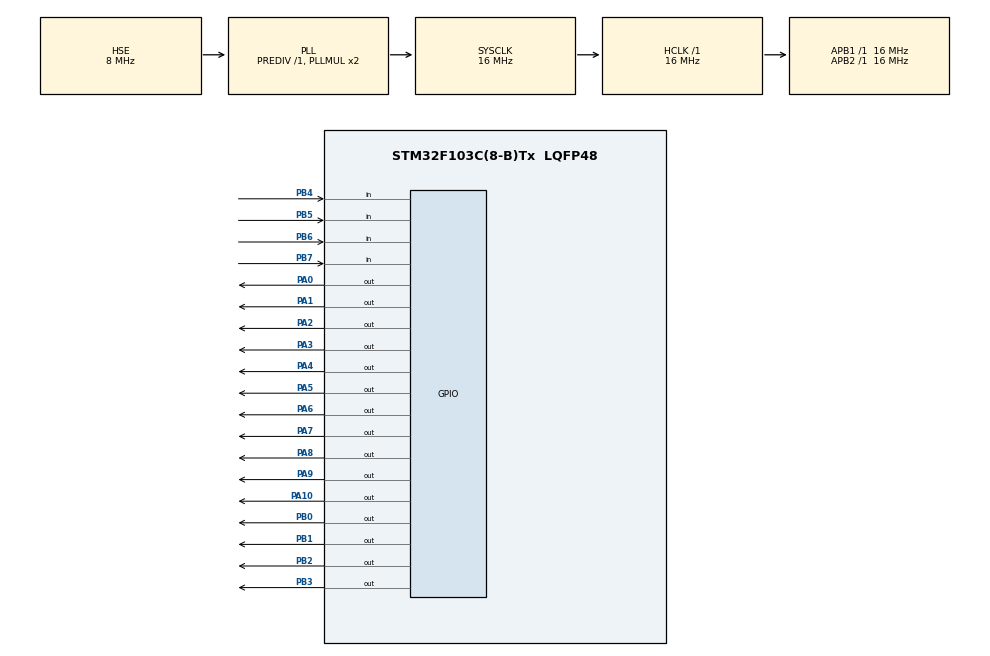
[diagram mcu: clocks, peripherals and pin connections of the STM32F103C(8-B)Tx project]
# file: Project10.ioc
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Mcu.Family=STM32F1
Mcu.Name=STM32F103C(8-B)Tx
Mcu.Package=LQFP48
NVIC.PriorityGroup=NVIC_PRIORITYGROUP_4
PA0-WKUP.Signal=GPIO_Output
PA1.Signal=GPIO_Output
PA10.Signal=GPIO_Output
PA13.Mode=Serial_Wire
PA13.Signal=SYS_JTMS-SWDIO
PA14.Mode=Serial_Wire
PA14.Signal=SYS_JTCK-SWCLK
PA2.Signal=GPIO_Output
PA3.Signal=GPIO_Output
PA4.Signal=GPIO_Output
PA5.Signal=GPIO_Output
PA6.Signal=GPIO_Output
PA7.Signal=GPIO_Output
PA8.Signal=GPIO_Output
PA9.Signal=GPIO_Output
PB0.Signal=GPIO_Output
PB1.Signal=GPIO_Output
PB2.Signal=GPIO_Output
PB3.Signal=GPIO_Output
PB4.GPIO_PuPd=GPIO_PULLDOWN
PB4.Signal=GPIO_Input
PB5.GPIO_PuPd=GPIO_PULLUP
PB5.Signal=GPIO_Input
PB6.GPIO_PuPd=GPIO_PULLUP
PB6.Signal=GPIO_Input
PB7.GPIO_PuPd=GPIO_PULLUP
PB7.Signal=GPIO_Input
PD0-OSC_IN.Mode=HSE-External-Oscillator
PD0-OSC_IN.Signal=RCC_OSC_IN
PD1-OSC_OUT.Mode=HSE-External-Oscillator
PD1-OSC_OUT.Signal=RCC_OSC_OUT
ProjectManager.HeapSize=0x200
ProjectManager.StackSize=0x400
ProjectManager.TargetToolchain=STM32CubeIDE
RCC.AHBFreq_Value=16000000
RCC.APB1Freq_Value=16000000
RCC.APB1TimFreq_Value=16000000
RCC.APB2Freq_Value=16000000
RCC.APB2TimFreq_Value=16000000
RCC.HCLKFreq_Value=16000000
RCC.PLLSourceVirtual=RCC_PLLSOURCE_HSE
RCC.SYSCLKFreq_VALUE=16000000
RCC.SYSCLKSource=RCC_SYSCLKSOURCE_PLLCLK
RCC.USBFreq_Value=16000000
board=custom

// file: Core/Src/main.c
/* USER CODE BEGIN Header */
/**
  ******************************************************************************
  * @file           : main.c
  * @brief          : Main program body
  ******************************************************************************
  * @attention
  *
  * Copyright (c) 2025 STMicroelectronics.
  * All rights reserved.
  *
  * This software is licensed under terms that can be found in the LICENSE file
  * in the root directory of this software component.
  * If no LICENSE file comes with this software, it is provided AS-IS.
  *
  ******************************************************************************
  */
/* USER CODE END Header */
#include "main.h"

/* USER CODE BEGIN Includes */
#include "lcd.h"
/* USER CODE END Includes */

void SystemClock_Config(void);
static void MX_GPIO_Init(void);

/* USER CODE BEGIN 0 */

int col = 0;
int row = 0;

char rotation[4] = {0b11111110, 0b11111101, 0b11111011, 0b11110111};
char keyboard_layout[4][4] = {
	  {'7', '8', '9', '/'},
	  {'4', '5', '6', '*'},
	  {'1', '2', '3', '-'},
	  {'C', '0', '=', '+'}
};

GPIO_PinState b4;
GPIO_PinState b5;
GPIO_PinState b6;
GPIO_PinState b7;
char getKey(){
	row = 0;

	while(1){
		GPIOB -> ODR = rotation[row];

		if (HAL_GPIO_ReadPin(GPIOB, GPIO_PIN_4) == GPIO_PIN_RESET) {
			while (HAL_GPIO_ReadPin(GPIOB, GPIO_PIN_4) == GPIO_PIN_RESET);
			HAL_Delay(20);
			return keyboard_layout[row][0];
		}
		if (HAL_GPIO_ReadPin(GPIOB, GPIO_PIN_5) == GPIO_PIN_RESET) {
			while (HAL_GPIO_ReadPin(GPIOB, GPIO_PIN_5) == GPIO_PIN_RESET);
			HAL_Delay(20);
			return keyboard_layout[row][1];
		}
		if (HAL_GPIO_ReadPin(GPIOB, GPIO_PIN_6) == GPIO_PIN_RESET) {
			while (HAL_GPIO_ReadPin(GPIOB, GPIO_PIN_6) == GPIO_PIN_RESET);
			HAL_Delay(20);
			return keyboard_layout[row][2];
		}
		if (HAL_GPIO_ReadPin(GPIOB, GPIO_PIN_7) == GPIO_PIN_RESET) {
			while (HAL_GPIO_ReadPin(GPIOB, GPIO_PIN_7) == GPIO_PIN_RESET);
			HAL_Delay(20);
			return keyboard_layout[row][3];
		}

		row++;
		if (row == 4) row = 0;

		HAL_Delay(5);
	}
}

/* USER CODE END 0 */

int main(void)
{

  /* MCU Configuration--------------------------------------------------------*/

  /* Reset of all peripherals, Initializes the Flash interface and the Systick. */
  HAL_Init();

  /* Configure the system clock */
  SystemClock_Config();

  /* Initialize all configured peripherals */
  MX_GPIO_Init();
  /* USER CODE BEGIN 2 */

  lcd_init();
  char ch;

  /* USER CODE END 2 */

  /* Infinite loop */
  while (1)
  {

    /* USER CODE BEGIN 3 */
	ch = getKey();

	if (ch == 'C') {
	        lcd_clear();
	        lcd_gotoxy(0, 0);
	 } else {
	        lcd_putchar(ch); // چاپ مستقیم کلید روی LCD
	 }
  }
  /* USER CODE END 3 */
}

void SystemClock_Config(void)
{
  RCC_OscInitTypeDef RCC_OscInitStruct = {0};
  RCC_ClkInitTypeDef RCC_ClkInitStruct = {0};

  /** Initializes the RCC Oscillators according to the specified parameters
  * in the RCC_OscInitTypeDef structure.
  */
  RCC_OscInitStruct.OscillatorType = RCC_OSCILLATORTYPE_HSE;
  RCC_OscInitStruct.HSEState = RCC_HSE_ON;
  RCC_OscInitStruct.HSEPredivValue = RCC_HSE_PREDIV_DIV1;
  RCC_OscInitStruct.HSIState = RCC_HSI_ON;
  RCC_OscInitStruct.PLL.PLLState = RCC_PLL_ON;
  RCC_OscInitStruct.PLL.PLLSource = RCC_PLLSOURCE_HSE;
  RCC_OscInitStruct.PLL.PLLMUL = RCC_PLL_MUL2;
  if (HAL_RCC_OscConfig(&RCC_OscInitStruct) != HAL_OK)
  {
    Error_Handler();
  }

  /** Initializes the CPU, AHB and APB buses clocks
  */
  RCC_ClkInitStruct.ClockType = RCC_CLOCKTYPE_HCLK|RCC_CLOCKTYPE_SYSCLK
                              |RCC_CLOCKTYPE_PCLK1|RCC_CLOCKTYPE_PCLK2;
  RCC_ClkInitStruct.SYSCLKSource = RCC_SYSCLKSOURCE_PLLCLK;
  RCC_ClkInitStruct.AHBCLKDivider = RCC_SYSCLK_DIV1;
  RCC_ClkInitStruct.APB1CLKDivider = RCC_HCLK_DIV1;
  RCC_ClkInitStruct.APB2CLKDivider = RCC_HCLK_DIV1;

  if (HAL_RCC_ClockConfig(&RCC_ClkInitStruct, FLASH_LATENCY_0) != HAL_OK)
  {
    Error_Handler();
  }
}

static void MX_GPIO_Init(void)
{
  GPIO_InitTypeDef GPIO_InitStruct = {0};

  /* GPIO Ports Clock Enable */
  __HAL_RCC_GPIOD_CLK_ENABLE();
  __HAL_RCC_GPIOA_CLK_ENABLE();
  __HAL_RCC_GPIOB_CLK_ENABLE();

  /*Configure GPIO pin Output Level */
  HAL_GPIO_WritePin(GPIOA, GPIO_PIN_0|GPIO_PIN_1|GPIO_PIN_2|GPIO_PIN_3
                          |GPIO_PIN_4|GPIO_PIN_5|GPIO_PIN_6|GPIO_PIN_7
                          |GPIO_PIN_8|GPIO_PIN_9|GPIO_PIN_10, GPIO_PIN_RESET);

  /*Configure GPIO pin Output Level */
  HAL_GPIO_WritePin(GPIOB, GPIO_PIN_0|GPIO_PIN_1|GPIO_PIN_2|GPIO_PIN_3, GPIO_PIN_RESET);

  /*Configure GPIO pins : PA0 PA1 PA2 PA3
                           PA4 PA5 PA6 PA7
                           PA8 PA9 PA10 */
  GPIO_InitStruct.Pin = GPIO_PIN_0|GPIO_PIN_1|GPIO_PIN_2|GPIO_PIN_3
                          |GPIO_PIN_4|GPIO_PIN_5|GPIO_PIN_6|GPIO_PIN_7
                          |GPIO_PIN_8|GPIO_PIN_9|GPIO_PIN_10;
  GPIO_InitStruct.Mode = GPIO_MODE_OUTPUT_PP;
  GPIO_InitStruct.Pull = GPIO_NOPULL;
  GPIO_InitStruct.Speed = GPIO_SPEED_FREQ_LOW;
  HAL_GPIO_Init(GPIOA, &GPIO_InitStruct);

  /*Configure GPIO pins : PB0 PB1 PB2 PB3 */
  GPIO_InitStruct.Pin = GPIO_PIN_0|GPIO_PIN_1|GPIO_PIN_2|GPIO_PIN_3;
  GPIO_InitStruct.Mode = GPIO_MODE_OUTPUT_PP;
  GPIO_InitStruct.Pull = GPIO_NOPULL;
  GPIO_InitStruct.Speed = GPIO_SPEED_FREQ_LOW;
  HAL_GPIO_Init(GPIOB, &GPIO_InitStruct);

  /*Configure GPIO pin : PB4 */
  GPIO_InitStruct.Pin = GPIO_PIN_4;
  GPIO_InitStruct.Mode = GPIO_MODE_INPUT;
  GPIO_InitStruct.Pull = GPIO_PULLDOWN;
  HAL_GPIO_Init(GPIOB, &GPIO_InitStruct);

  /*Configure GPIO pins : PB5 PB6 PB7 */
  GPIO_InitStruct.Pin = GPIO_PIN_5|GPIO_PIN_6|GPIO_PIN_7;
  GPIO_InitStruct.Mode = GPIO_MODE_INPUT;
  GPIO_InitStruct.Pull = GPIO_PULLUP;
  HAL_GPIO_Init(GPIOB, &GPIO_InitStruct);

}

void Error_Handler(void)
{
  __disable_irq();
  while (1)
  {
  }
}
